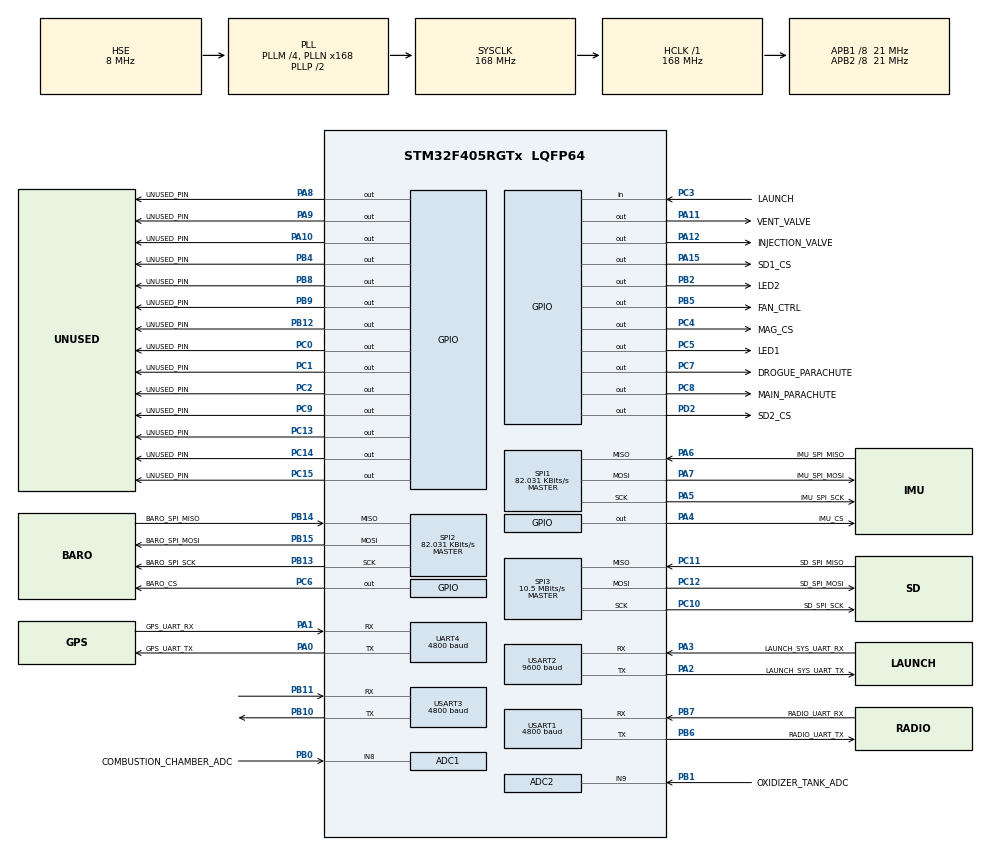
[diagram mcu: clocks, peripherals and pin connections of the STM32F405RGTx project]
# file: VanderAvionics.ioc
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ADC1.Channel-58\#ChannelRegularConversion=ADC_CHANNEL_8
ADC1.ClockPrescaler=ADC_CLOCK_SYNC_PCLK_DIV2
ADC1.ContinuousConvMode=ENABLE
ADC1.DMAContinuousRequests=DISABLE
ADC1.DataAlign=ADC_DATAALIGN_RIGHT
ADC1.DiscontinuousConvMode=DISABLE
ADC1.EOCSelection=ADC_EOC_SEQ_CONV
ADC1.EnableAnalogWatchDog=false
ADC1.ExternalTrigConv=ADC_EXTERNALTRIGCONV_T1_CC1
ADC1.ExternalTrigConvEdge=ADC_EXTERNALTRIGCONVEDGE_RISING
ADC1.InjNumberOfConversion=0
ADC1.NbrOfConversion=1
ADC1.NbrOfConversionFlag=1
ADC1.Rank-58\#ChannelRegularConversion=1
ADC1.Resolution=ADC_RESOLUTION_12B
ADC1.SamplingTime-58\#ChannelRegularConversion=ADC_SAMPLETIME_480CYCLES
ADC1.ScanConvMode=DISABLE
ADC1.master=1
ADC2.Channel-68\#ChannelRegularConversion=ADC_CHANNEL_9
ADC2.ClockPrescaler=ADC_CLOCK_SYNC_PCLK_DIV2
ADC2.ContinuousConvMode=ENABLE
ADC2.DMAContinuousRequests=DISABLE
ADC2.DataAlign=ADC_DATAALIGN_RIGHT
ADC2.DiscontinuousConvMode=DISABLE
ADC2.EOCSelection=ADC_EOC_SEQ_CONV
ADC2.EnableAnalogWatchDog=false
ADC2.ExternalTrigConv=ADC_EXTERNALTRIGCONV_T1_CC1
ADC2.ExternalTrigConvEdge=ADC_EXTERNALTRIGCONVEDGE_RISING
ADC2.InjNumberOfConversion=0
ADC2.NbrOfConversion=1
ADC2.NbrOfConversionFlag=1
ADC2.Rank-68\#ChannelRegularConversion=1
ADC2.Resolution=ADC_RESOLUTION_12B
ADC2.SamplingTime-68\#ChannelRegularConversion=ADC_SAMPLETIME_480CYCLES
ADC2.ScanConvMode=DISABLE
FREERTOS.INCLUDE_vTaskDelayUntil=1
FREERTOS.Tasks01=defaultTask,0,128,StartDefaultTask,Default,NULL
FREERTOS.configMAX_TASK_NAME_LEN=64
Mcu.Family=STM32F4
Mcu.Name=STM32F405RGTx
Mcu.Package=LQFP64
NVIC.PriorityGroup=NVIC_PRIORITYGROUP_4
NVIC.TIM1_UP_TIM10_IRQn=true\:0\:0\:false\:false\:true\:false\:false
NVIC.TimeBase=TIM1_UP_TIM10_IRQn
NVIC.TimeBaseIP=TIM1
PA0-WKUP.GPIO_Label=GPS_UART_TX
PA0-WKUP.Mode=Asynchronous
PA0-WKUP.Signal=UART4_TX
PA1.GPIO_Label=GPS_UART_RX
PA1.Mode=Asynchronous
PA1.Signal=UART4_RX
PA10.GPIO_Label=UNUSED_PIN
PA10.Signal=GPIO_Output
PA11.GPIO_Label=VENT_VALVE
PA11.Signal=GPIO_Output
PA12.GPIO_Label=INJECTION_VALVE
PA12.Signal=GPIO_Output
PA13.Signal=SYS_JTMS-SWDIO
PA14.Signal=SYS_JTCK-SWCLK
PA15.GPIO_Label=SD1_CS
PA15.Signal=GPIO_Output
PA2.GPIO_Label=LAUNCH_SYS_UART_TX
PA2.Mode=Asynchronous
PA2.Signal=USART2_TX
PA3.GPIO_Label=LAUNCH_SYS_UART_RX
PA3.Mode=Asynchronous
PA3.Signal=USART2_RX
PA4.GPIO_Label=IMU_CS
PA4.Signal=GPIO_Output
PA5.GPIO_Label=IMU_SPI_SCK
PA5.Mode=Full_Duplex_Master
PA5.Signal=SPI1_SCK
PA6.GPIO_Label=IMU_SPI_MISO
PA6.Mode=Full_Duplex_Master
PA6.Signal=SPI1_MISO
PA7.GPIO_Label=IMU_SPI_MOSI
PA7.Mode=Full_Duplex_Master
PA7.Signal=SPI1_MOSI
PA8.GPIO_Label=UNUSED_PIN
PA8.Signal=GPIO_Output
PA9.GPIO_Label=UNUSED_PIN
PA9.Signal=GPIO_Output
PB0.GPIO_Label=COMBUSTION_CHAMBER_ADC
PB0.Signal=ADCx_IN8
PB1.GPIO_Label=OXIDIZER_TANK_ADC
PB1.Signal=ADCx_IN9
PB10.Mode=Asynchronous
PB10.Signal=USART3_TX
PB11.Mode=Asynchronous
PB11.Signal=USART3_RX
PB12.GPIO_Label=UNUSED_PIN
PB12.Signal=GPIO_Output
PB13.GPIO_Label=BARO_SPI_SCK
PB13.Mode=Full_Duplex_Master
PB13.Signal=SPI2_SCK
PB14.GPIO_Label=BARO_SPI_MISO
PB14.Mode=Full_Duplex_Master
PB14.Signal=SPI2_MISO
PB15.GPIO_Label=BARO_SPI_MOSI
PB15.Mode=Full_Duplex_Master
PB15.Signal=SPI2_MOSI
PB2.GPIO_Label=LED2
PB2.Signal=GPIO_Output
PB3.Signal=SYS_JTDO-SWO
PB4.GPIO_Label=UNUSED_PIN
PB4.Signal=GPIO_Output
PB5.GPIO_Label=FAN_CTRL
PB5.Signal=GPIO_Output
PB6.GPIO_Label=RADIO_UART_TX
PB6.Mode=Asynchronous
PB6.Signal=USART1_TX
PB7.GPIO_Label=RADIO_UART_RX
PB7.Mode=Asynchronous
PB7.Signal=USART1_RX
PB8.GPIO_Label=UNUSED_PIN
PB8.Signal=GPIO_Output
PB9.GPIO_Label=UNUSED_PIN
PB9.Signal=GPIO_Output
PC0.GPIO_Label=UNUSED_PIN
PC0.Signal=GPIO_Output
PC1.GPIO_Label=UNUSED_PIN
PC1.Signal=GPIO_Output
PC10.GPIO_Label=SD_SPI_SCK
PC10.Mode=Full_Duplex_Master
PC10.Signal=SPI3_SCK
PC11.GPIO_Label=SD_SPI_MISO
PC11.Mode=Full_Duplex_Master
PC11.Signal=SPI3_MISO
PC12.GPIO_Label=SD_SPI_MOSI
PC12.Mode=Full_Duplex_Master
PC12.Signal=SPI3_MOSI
PC13-ANTI_TAMP.GPIO_Label=UNUSED_PIN
PC13-ANTI_TAMP.Signal=GPIO_Output
PC14-OSC32_IN.GPIO_Label=UNUSED_PIN
PC14-OSC32_IN.Signal=GPIO_Output
PC15-OSC32_OUT.GPIO_Label=UNUSED_PIN
PC15-OSC32_OUT.Signal=GPIO_Output
PC2.GPIO_Label=UNUSED_PIN
PC2.Signal=GPIO_Output
PC3.GPIO_Label=LAUNCH
PC3.Signal=GPIO_Input
PC4.GPIO_Label=MAG_CS
PC4.Signal=GPIO_Output
PC5.GPIO_Label=LED1
PC5.Signal=GPIO_Output
PC6.GPIO_Label=BARO_CS
PC6.Signal=GPIO_Output
PC7.GPIO_Label=DROGUE_PARACHUTE
PC7.Signal=GPIO_Output
PC8.GPIO_Label=MAIN_PARACHUTE
PC8.Signal=GPIO_Output
PC9.GPIO_Label=UNUSED_PIN
PC9.Signal=GPIO_Output
PD2.GPIO_Label=SD2_CS
PD2.Signal=GPIO_Output
PH0-OSC_IN.Mode=HSE-External-Oscillator
PH0-OSC_IN.Signal=RCC_OSC_IN
PH1-OSC_OUT.Mode=HSE-External-Oscillator
PH1-OSC_OUT.Signal=RCC_OSC_OUT
ProjectManager.HeapSize=0x200
ProjectManager.StackSize=0x400
ProjectManager.TargetToolchain=SW4STM32
RCC.48MHZClocksFreq_Value=84000000
RCC.AHBFreq_Value=168000000
RCC.APB1CLKDivider=RCC_HCLK_DIV8
RCC.APB1Freq_Value=21000000
RCC.APB1TimFreq_Value=42000000
RCC.APB2CLKDivider=RCC_HCLK_DIV8
RCC.APB2Freq_Value=21000000
RCC.APB2TimFreq_Value=42000000
RCC.CortexFreq_Value=168000000
RCC.HCLKFreq_Value=168000000
RCC.HSE_VALUE=8000000
RCC.HSI_VALUE=16000000
RCC.LSE_VALUE=32768
RCC.PLLM=4
RCC.PLLN=168
RCC.PLLSourceVirtual=RCC_PLLSOURCE_HSE
RCC.SYSCLKFreq_VALUE=168000000
RCC.SYSCLKSource=RCC_SYSCLKSOURCE_PLLCLK
RCC.VCOOutputFreq_Value=336000000
SH.ADCx_IN8.0=ADC1_IN8,IN8
SH.ADCx_IN9.0=ADC2_IN9,IN9
SPI1.BaudRatePrescaler=SPI_BAUDRATEPRESCALER_256
SPI1.CLKPhase=SPI_PHASE_2EDGE
SPI1.CLKPolarity=SPI_POLARITY_HIGH
SPI1.CalculateBaudRate=82.031 KBits/s
SPI1.Direction=SPI_DIRECTION_2LINES
SPI1.Mode=SPI_MODE_MASTER
SPI1.VirtualType=VM_MASTER
SPI2.BaudRatePrescaler=SPI_BAUDRATEPRESCALER_256
SPI2.CalculateBaudRate=82.031 KBits/s
SPI2.Direction=SPI_DIRECTION_2LINES
SPI2.Mode=SPI_MODE_MASTER
SPI2.VirtualType=VM_MASTER
SPI3.CalculateBaudRate=10.5 MBits/s
SPI3.Direction=SPI_DIRECTION_2LINES
SPI3.Mode=SPI_MODE_MASTER
SPI3.VirtualType=VM_MASTER
UART4.BaudRate=4800
UART4.VirtualMode=Asynchronous
USART1.BaudRate=4800
USART1.VirtualMode=VM_ASYNC
USART2.BaudRate=9600
USART2.VirtualMode=VM_ASYNC
USART3.BaudRate=4800
USART3.VirtualMode=VM_ASYNC
VP_FREERTOS_VS_ENABLE.Mode=Enabled
VP_SYS_VS_tim1.Mode=TIM1
board=VanderAvionics

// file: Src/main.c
/**
  ******************************************************************************
  * @file           : main.c
  * @brief          : Main program body
  ******************************************************************************
  * This notice applies to any and all portions of this file
  * that are not between comment pairs USER CODE BEGIN and
  * USER CODE END. Other portions of this file, whether
  * inserted by the user or by software development tools
  * are owned by their respective copyright owners.
  *
  * Copyright (c) 2018 STMicroelectronics International N.V.
  * All rights reserved.
  *
  * Redistribution and use in source and binary forms, with or without
  * modification, are permitted, provided that the following conditions are met:
  *
  * 1. Redistribution of source code must retain the above copyright notice,
  *    this list of conditions and the following disclaimer.
  * 2. Redistributions in binary form must reproduce the above copyright notice,
  *    this list of conditions and the following disclaimer in the documentation
  *    and/or other materials provided with the distribution.
  * 3. Neither the name of STMicroelectronics nor the names of other
  *    contributors to this software may be used to endorse or promote products
  *    derived from this software without specific written permission.
  * 4. This software, including modifications and/or derivative works of this
  *    software, must execute solely and exclusively on microcontroller or
  *    microprocessor devices manufactured by or for STMicroelectronics.
  * 5. Redistribution and use of this software other than as permitted under
  *    this license is void and will automatically terminate your rights under
  *    this license.
  *
  * THIS SOFTWARE IS PROVIDED BY STMICROELECTRONICS AND CONTRIBUTORS "AS IS"
  * AND ANY EXPRESS, IMPLIED OR STATUTORY WARRANTIES, INCLUDING, BUT NOT
  * LIMITED TO, THE IMPLIED WARRANTIES OF MERCHANTABILITY, FITNESS FOR A
  * PARTICULAR PURPOSE AND NON-INFRINGEMENT OF THIRD PARTY INTELLECTUAL PROPERTY
  * RIGHTS ARE DISCLAIMED TO THE FULLEST EXTENT PERMITTED BY LAW. IN NO EVENT
  * SHALL STMICROELECTRONICS OR CONTRIBUTORS BE LIABLE FOR ANY DIRECT, INDIRECT,
  * INCIDENTAL, SPECIAL, EXEMPLARY, OR CONSEQUENTIAL DAMAGES (INCLUDING, BUT NOT
  * LIMITED TO, PROCUREMENT OF SUBSTITUTE GOODS OR SERVICES; LOSS OF USE, DATA,
  * OR PROFITS; OR BUSINESS INTERRUPTION) HOWEVER CAUSED AND ON ANY THEORY OF
  * LIABILITY, WHETHER IN CONTRACT, STRICT LIABILITY, OR TORT (INCLUDING
  * NEGLIGENCE OR OTHERWISE) ARISING IN ANY WAY OUT OF THE USE OF THIS SOFTWARE,
  * EVEN IF ADVISED OF THE POSSIBILITY OF SUCH DAMAGE.
  *
  ******************************************************************************
  */
#include "main.h"
#include "stm32f4xx_hal.h"
#include "cmsis_os.h"

/* USER CODE BEGIN Includes */
#include <stdlib.h>
#include "ReadAccelGyroMagnetism.h"
#include "ReadBarometer.h"
#include "ReadCombustionChamberPressure.h"
#include "ReadGps.h"
#include "ReadOxidizerTankPressure.h"
#include "MonitorForEmergencyShutoff.h"
#include "EngineControl.h"
#include "ParachutesControl.h"
#include "LogData.h"
#include "TransmitData.h"
#include "AbortPhase.h"
#include "Data.h"
#include "FlightPhase.h"
/* USER CODE END Includes */

ADC_HandleTypeDef hadc1;
ADC_HandleTypeDef hadc2;

SPI_HandleTypeDef hspi1;
SPI_HandleTypeDef hspi2;
SPI_HandleTypeDef hspi3;

UART_HandleTypeDef huart4;
UART_HandleTypeDef huart1;
UART_HandleTypeDef huart2;
UART_HandleTypeDef huart3;

osThreadId defaultTaskHandle;

/* USER CODE BEGIN PV */
/* Private variables ---------------------------------------------------------*/
static osThreadId readAccelGyroMagnetismTaskHandle;
static osThreadId readBarometerTaskHandle;
static osThreadId readCombustionChamberPressureTaskHandle;
static osThreadId readGpsTaskHandle;
static osThreadId readOxidizerTankPressureTaskHandle;
// Controls that will perform actions
static osThreadId monitorForEmergencyShutoffTaskHandle;
static osThreadId engineControlTaskHandle;
static osThreadId parachutesControlTaskHandle;
// Storing data
static osThreadId logDataTaskHandle;
static osThreadId transmitDataTaskHandle;
// Special abort thread
static osThreadId abortPhaseTaskHandle;

static uint8_t launchSystemsRxChar = 0;
static const uint8_t LAUNCH_CMD_BYTE = 0x20;
static const uint8_t ABORT_CMD_BYTE = 0x2F;
uint8_t launchCmdReceived = 0;
uint8_t abortCmdReceived = 0;

static const int FLIGHT_PHASE_DISPLAY_FREQ = 1000;
static const int FLIGHT_PHASE_BLINK_FREQ = 100;
/* USER CODE END PV */

void SystemClock_Config(void);
static void MX_GPIO_Init(void);
static void MX_ADC1_Init(void);
static void MX_ADC2_Init(void);
static void MX_SPI1_Init(void);
static void MX_SPI3_Init(void);
static void MX_SPI2_Init(void);
static void MX_USART1_UART_Init(void);
static void MX_USART2_UART_Init(void);
static void MX_UART4_Init(void);
static void MX_USART3_UART_Init(void);
void StartDefaultTask(void const* argument);

/* USER CODE BEGIN PFP */
/* Private function prototypes -----------------------------------------------*/

/* USER CODE END PFP */

int main(void)
{

    /* MCU Configuration----------------------------------------------------------*/

    /* Reset of all peripherals, Initializes the Flash interface and the Systick. */
    HAL_Init();

    /* Configure the system clock */
    SystemClock_Config();

    /* Initialize all configured peripherals */
    MX_GPIO_Init();
    MX_ADC1_Init();
    MX_ADC2_Init();
    MX_SPI1_Init();
    MX_SPI3_Init();
    MX_SPI2_Init();
    MX_USART1_UART_Init();
    MX_USART2_UART_Init();
    MX_UART4_Init();
    MX_USART3_UART_Init();
    /* USER CODE BEGIN 2 */
    // data primitive structs
    AccelGyroMagnetismData* accelGyroMagnetismData =
        malloc(sizeof(AccelGyroMagnetismData));
    BarometerData* barometerData =
        malloc(sizeof(BarometerData));
    CombustionChamberPressureData* combustionChamberPressureData =
        malloc(sizeof(CombustionChamberPressureData));
    GpsData* gpsData =
        malloc(sizeof(GpsData));
    OxidizerTankPressureData* oxidizerTankPressureData =
        malloc(sizeof(OxidizerTankPressureData));

    osMutexDef(ACCEL_GYRO_MAGNETISM_DATA_MUTEX);
    accelGyroMagnetismData->mutex_ = osMutexCreate(osMutex(ACCEL_GYRO_MAGNETISM_DATA_MUTEX));
    accelGyroMagnetismData->accelX_ = -1;
    accelGyroMagnetismData->accelY_ = -2;
    accelGyroMagnetismData->accelZ_ = -3;
    accelGyroMagnetismData->gyroX_ = -4;
    accelGyroMagnetismData->gyroY_ = -5;
    accelGyroMagnetismData->gyroZ_ = -6;
    accelGyroMagnetismData->magnetoX_ = -7;
    accelGyroMagnetismData->magnetoY_ = -8;
    accelGyroMagnetismData->magnetoZ_ = -9;

    osMutexDef(BAROMETER_DATA_MUTEX);
    barometerData->mutex_ = osMutexCreate(osMutex(BAROMETER_DATA_MUTEX));
    barometerData->pressure_ = -10;
    barometerData->temperature_ = -11;

    osMutexDef(COMBUSTION_CHAMBER_PRESSURE_DATA_MUTEX);
    combustionChamberPressureData->mutex_ = osMutexCreate(osMutex(COMBUSTION_CHAMBER_PRESSURE_DATA_MUTEX));
    combustionChamberPressureData->pressure_ = -12;

    osMutexDef(GPS_DATA_MUTEX);
    gpsData->mutex_ = osMutexCreate(osMutex(GPS_DATA_MUTEX));
    gpsData->altitude_ = -13;
    gpsData->epochTimeMsec_ = -14;
    gpsData->latitude_ = -15;
    gpsData->longitude_ = -16;

    osMutexDef(OXIDIZER_TANK_PRESSURE_DATA_MUTEX);
    oxidizerTankPressureData->mutex_ = osMutexCreate(osMutex(OXIDIZER_TANK_PRESSURE_DATA_MUTEX));
    oxidizerTankPressureData->pressure_ = -17;

    // data containers
    AllData* allData =
        malloc(sizeof(AllData));
    allData->accelGyroMagnetismData_ = accelGyroMagnetismData;
    allData->barometerData_ = barometerData;
    allData->combustionChamberPressureData_ = combustionChamberPressureData;
    allData->gpsData_ = gpsData;
    allData->oxidizerTankPressureData_ = oxidizerTankPressureData;

    ParachutesControlData* parachutesControlData =
        malloc(sizeof(ParachutesControlData));
    parachutesControlData->accelGyroMagnetismData_ = accelGyroMagnetismData;
    parachutesControlData->barometerData_ = barometerData;
    /* USER CODE END 2 */

    /* USER CODE BEGIN RTOS_MUTEX */
    osMutexDef(FLIGHT_PHASE_MUTEX);
    flightPhaseMutex = osMutexCreate(osMutex(FLIGHT_PHASE_MUTEX));
    /* USER CODE END RTOS_MUTEX */

    /* USER CODE BEGIN RTOS_TIMERS */
    /* start timers, add new ones, ... */
    if (HAL_UART_Receive_IT(&huart2, launchSystemsRxChar, 1) != HAL_OK)
    {
        /* Reception Error */
        HAL_UART_ErrorCallback(&huart2);
    }

    // Turn on fan
    HAL_GPIO_WritePin(FAN_CTRL_GPIO_Port, FAN_CTRL_Pin, 1);

    /* USER CODE END RTOS_TIMERS */

    /* Create the thread(s) */
    /* definition and creation of defaultTask */
    osThreadDef(defaultTask, StartDefaultTask, osPriorityNormal, 0, 128);
    defaultTaskHandle = osThreadCreate(osThread(defaultTask), NULL);

    /* USER CODE BEGIN RTOS_THREADS */

    osThreadDef(
        readAccelGyroMagnetismThread,
        readAccelGyroMagnetismTask,
        osPriorityNormal,
        1,
        configMINIMAL_STACK_SIZE
    );
    readAccelGyroMagnetismTaskHandle =
        osThreadCreate(osThread(readAccelGyroMagnetismThread), accelGyroMagnetismData);

    osThreadDef(
        readBarometerThread,
        readBarometerTask,
        osPriorityNormal,
        1,
        configMINIMAL_STACK_SIZE
    );
    readBarometerTaskHandle =
        osThreadCreate(osThread(readBarometerThread), barometerData);

    osThreadDef(
        readCombustionChamberPressureThread,
        readCombustionChamberPressureTask,
        osPriorityAboveNormal,
        1,
        configMINIMAL_STACK_SIZE
    );
    readCombustionChamberPressureTaskHandle =
        osThreadCreate(osThread(readCombustionChamberPressureThread), combustionChamberPressureData);

    osThreadDef(
        readGpsThread,
        readGpsTask,
        osPriorityBelowNormal,
        1,
        configMINIMAL_STACK_SIZE
    );
    readGpsTaskHandle =
        osThreadCreate(osThread(readGpsThread), gpsData);

    osThreadDef(
        readOxidizerTankPressureThread,
        readOxidizerTankPressureTask,
        osPriorityAboveNormal,
        1,
        configMINIMAL_STACK_SIZE
    );
    readOxidizerTankPressureTaskHandle =
        osThreadCreate(osThread(readOxidizerTankPressureThread), oxidizerTankPressureData);

    osThreadDef(
        monitorForEmergencyShutoffThread,
        monitorForEmergencyShutoffTask,
        osPriorityHigh,
        1,
        configMINIMAL_STACK_SIZE
    );
    monitorForEmergencyShutoffTaskHandle =
        osThreadCreate(osThread(monitorForEmergencyShutoffThread), accelGyroMagnetismData);

    osThreadDef(
        engineControlThread,
        engineControlTask,
        osPriorityNormal,
        1,
        configMINIMAL_STACK_SIZE * 2
    );
    engineControlTaskHandle =
        osThreadCreate(osThread(engineControlThread), oxidizerTankPressureData);

    osThreadDef(
        parachutesControlThread,
        parachutesControlTask,
        osPriorityAboveNormal,
        1,
        configMINIMAL_STACK_SIZE * 2
    );
    parachutesControlTaskHandle =
        osThreadCreate(osThread(parachutesControlThread), parachutesControlData);

    osThreadDef(
        logDataThread,
        logDataTask,
        osPriorityNormal,
        1,
        configMINIMAL_STACK_SIZE * 3
    );
    logDataTaskHandle =
        osThreadCreate(osThread(logDataThread), allData);

    osThreadDef(
        transmitDataThread,
        transmitDataTask,
        osPriorityAboveNormal,
        1,
        configMINIMAL_STACK_SIZE * 3
    );
    transmitDataTaskHandle =
        osThreadCreate(osThread(transmitDataThread), allData);

    osThreadDef(
        abortPhaseThread,
        abortPhaseTask,
        osPriorityHigh,
        1,
        configMINIMAL_STACK_SIZE
    );
    abortPhaseTaskHandle =
        osThreadCreate(osThread(abortPhaseThread), NULL);
    /* USER CODE END RTOS_THREADS */

    /* Start scheduler */
    osKernelStart();

    /* We should never get here as control is now taken by the scheduler */

    /* Infinite loop */
    while (1)
    {

        /* USER CODE BEGIN 3 */
    }

    free(accelGyroMagnetismData);
    free(barometerData);
    free(combustionChamberPressureData);
    free(gpsData);
    free(oxidizerTankPressureData);
    free(allData);
    free(parachutesControlData);
    /* USER CODE END 3 */

}

void SystemClock_Config(void)
{

    RCC_OscInitTypeDef RCC_OscInitStruct;
    RCC_ClkInitTypeDef RCC_ClkInitStruct;

    /**Configure the main internal regulator output voltage
    */
    __HAL_RCC_PWR_CLK_ENABLE();

    __HAL_PWR_VOLTAGESCALING_CONFIG(PWR_REGULATOR_VOLTAGE_SCALE1);

    /**Initializes the CPU, AHB and APB busses clocks
    */
    RCC_OscInitStruct.OscillatorType = RCC_OSCILLATORTYPE_HSE;
    RCC_OscInitStruct.HSEState = RCC_HSE_ON;
    RCC_OscInitStruct.PLL.PLLState = RCC_PLL_ON;
    RCC_OscInitStruct.PLL.PLLSource = RCC_PLLSOURCE_HSE;
    RCC_OscInitStruct.PLL.PLLM = 4;
    RCC_OscInitStruct.PLL.PLLN = 168;
    RCC_OscInitStruct.PLL.PLLP = RCC_PLLP_DIV2;
    RCC_OscInitStruct.PLL.PLLQ = 4;

    if (HAL_RCC_OscConfig(&RCC_OscInitStruct) != HAL_OK)
    {
        _Error_Handler(__FILE__, __LINE__);
    }

    /**Initializes the CPU, AHB and APB busses clocks
    */
    RCC_ClkInitStruct.ClockType = RCC_CLOCKTYPE_HCLK | RCC_CLOCKTYPE_SYSCLK
                                  | RCC_CLOCKTYPE_PCLK1 | RCC_CLOCKTYPE_PCLK2;
    RCC_ClkInitStruct.SYSCLKSource = RCC_SYSCLKSOURCE_PLLCLK;
    RCC_ClkInitStruct.AHBCLKDivider = RCC_SYSCLK_DIV1;
    RCC_ClkInitStruct.APB1CLKDivider = RCC_HCLK_DIV8;
    RCC_ClkInitStruct.APB2CLKDivider = RCC_HCLK_DIV8;

    if (HAL_RCC_ClockConfig(&RCC_ClkInitStruct, FLASH_LATENCY_5) != HAL_OK)
    {
        _Error_Handler(__FILE__, __LINE__);
    }

    /**Configure the Systick interrupt time
    */
    HAL_SYSTICK_Config(HAL_RCC_GetHCLKFreq() / 1000);

    /**Configure the Systick
    */
    HAL_SYSTICK_CLKSourceConfig(SYSTICK_CLKSOURCE_HCLK);

    /* SysTick_IRQn interrupt configuration */
    HAL_NVIC_SetPriority(SysTick_IRQn, 15, 0);
}

/* ADC1 init function */
static void MX_ADC1_Init(void)
{

    ADC_ChannelConfTypeDef sConfig;

    /**Configure the global features of the ADC (Clock, Resolution, Data Alignment and number of conversion)
    */
    hadc1.Instance = ADC1;
    hadc1.Init.ClockPrescaler = ADC_CLOCK_SYNC_PCLK_DIV2;
    hadc1.Init.Resolution = ADC_RESOLUTION_12B;
    hadc1.Init.ScanConvMode = DISABLE;
    hadc1.Init.ContinuousConvMode = ENABLE;
    hadc1.Init.DiscontinuousConvMode = DISABLE;
    hadc1.Init.ExternalTrigConvEdge = ADC_EXTERNALTRIGCONVEDGE_NONE;
    hadc1.Init.ExternalTrigConv = ADC_EXTERNALTRIGCONV_T1_CC1;
    hadc1.Init.DataAlign = ADC_DATAALIGN_RIGHT;
    hadc1.Init.NbrOfConversion = 1;
    hadc1.Init.DMAContinuousRequests = DISABLE;
    hadc1.Init.EOCSelection = ADC_EOC_SEQ_CONV;

    if (HAL_ADC_Init(&hadc1) != HAL_OK)
    {
        _Error_Handler(__FILE__, __LINE__);
    }

    /**Configure for the selected ADC regular channel its corresponding rank in the sequencer and its sample time.
    */
    sConfig.Channel = ADC_CHANNEL_8;
    sConfig.Rank = 1;
    sConfig.SamplingTime = ADC_SAMPLETIME_480CYCLES;

    if (HAL_ADC_ConfigChannel(&hadc1, &sConfig) != HAL_OK)
    {
        _Error_Handler(__FILE__, __LINE__);
    }

}

/* ADC2 init function */
static void MX_ADC2_Init(void)
{

    ADC_ChannelConfTypeDef sConfig;

    /**Configure the global features of the ADC (Clock, Resolution, Data Alignment and number of conversion)
    */
    hadc2.Instance = ADC2;
    hadc2.Init.ClockPrescaler = ADC_CLOCK_SYNC_PCLK_DIV2;
    hadc2.Init.Resolution = ADC_RESOLUTION_12B;
    hadc2.Init.ScanConvMode = DISABLE;
    hadc2.Init.ContinuousConvMode = ENABLE;
    hadc2.Init.DiscontinuousConvMode = DISABLE;
    hadc2.Init.ExternalTrigConvEdge = ADC_EXTERNALTRIGCONVEDGE_NONE;
    hadc2.Init.ExternalTrigConv = ADC_EXTERNALTRIGCONV_T1_CC1;
    hadc2.Init.DataAlign = ADC_DATAALIGN_RIGHT;
    hadc2.Init.NbrOfConversion = 1;
    hadc2.Init.DMAContinuousRequests = DISABLE;
    hadc2.Init.EOCSelection = ADC_EOC_SEQ_CONV;

    if (HAL_ADC_Init(&hadc2) != HAL_OK)
    {
        _Error_Handler(__FILE__, __LINE__);
    }

    /**Configure for the selected ADC regular channel its corresponding rank in the sequencer and its sample time.
    */
    sConfig.Channel = ADC_CHANNEL_9;
    sConfig.Rank = 1;
    sConfig.SamplingTime = ADC_SAMPLETIME_480CYCLES;

    if (HAL_ADC_ConfigChannel(&hadc2, &sConfig) != HAL_OK)
    {
        _Error_Handler(__FILE__, __LINE__);
    }

}

/* SPI1 init function */
static void MX_SPI1_Init(void)
{

    /* SPI1 parameter configuration*/
    hspi1.Instance = SPI1;
    hspi1.Init.Mode = SPI_MODE_MASTER;
    hspi1.Init.Direction = SPI_DIRECTION_2LINES;
    hspi1.Init.DataSize = SPI_DATASIZE_8BIT;
    hspi1.Init.CLKPolarity = SPI_POLARITY_HIGH;
    hspi1.Init.CLKPhase = SPI_PHASE_2EDGE;
    hspi1.Init.NSS = SPI_NSS_SOFT;
    hspi1.Init.BaudRatePrescaler = SPI_BAUDRATEPRESCALER_256;
    hspi1.Init.FirstBit = SPI_FIRSTBIT_MSB;
    hspi1.Init.TIMode = SPI_TIMODE_DISABLE;
    hspi1.Init.CRCCalculation = SPI_CRCCALCULATION_DISABLE;
    hspi1.Init.CRCPolynomial = 10;

    if (HAL_SPI_Init(&hspi1) != HAL_OK)
    {
        _Error_Handler(__FILE__, __LINE__);
    }

}

/* SPI2 init function */
static void MX_SPI2_Init(void)
{

    /* SPI2 parameter configuration*/
    hspi2.Instance = SPI2;
    hspi2.Init.Mode = SPI_MODE_MASTER;
    hspi2.Init.Direction = SPI_DIRECTION_2LINES;
    hspi2.Init.DataSize = SPI_DATASIZE_8BIT;
    hspi2.Init.CLKPolarity = SPI_POLARITY_LOW;
    hspi2.Init.CLKPhase = SPI_PHASE_1EDGE;
    hspi2.Init.NSS = SPI_NSS_SOFT;
    hspi2.Init.BaudRatePrescaler = SPI_BAUDRATEPRESCALER_256;
    hspi2.Init.FirstBit = SPI_FIRSTBIT_MSB;
    hspi2.Init.TIMode = SPI_TIMODE_DISABLE;
    hspi2.Init.CRCCalculation = SPI_CRCCALCULATION_DISABLE;
    hspi2.Init.CRCPolynomial = 10;

    if (HAL_SPI_Init(&hspi2) != HAL_OK)
    {
        _Error_Handler(__FILE__, __LINE__);
    }

}

/* SPI3 init function */
static void MX_SPI3_Init(void)
{

    /* SPI3 parameter configuration*/
    hspi3.Instance = SPI3;
    hspi3.Init.Mode = SPI_MODE_MASTER;
    hspi3.Init.Direction = SPI_DIRECTION_2LINES;
    hspi3.Init.DataSize = SPI_DATASIZE_8BIT;
    hspi3.Init.CLKPolarity = SPI_POLARITY_LOW;
    hspi3.Init.CLKPhase = SPI_PHASE_1EDGE;
    hspi3.Init.NSS = SPI_NSS_SOFT;
    hspi3.Init.BaudRatePrescaler = SPI_BAUDRATEPRESCALER_2;
    hspi3.Init.FirstBit = SPI_FIRSTBIT_MSB;
    hspi3.Init.TIMode = SPI_TIMODE_DISABLE;
    hspi3.Init.CRCCalculation = SPI_CRCCALCULATION_DISABLE;
    hspi3.Init.CRCPolynomial = 10;

    if (HAL_SPI_Init(&hspi3) != HAL_OK)
    {
        _Error_Handler(__FILE__, __LINE__);
    }

}

/* UART4 init function */
static void MX_UART4_Init(void)
{

    huart4.Instance = UART4;
    huart4.Init.BaudRate = 9600;
    huart4.Init.WordLength = UART_WORDLENGTH_8B;
    huart4.Init.StopBits = UART_STOPBITS_1;
    huart4.Init.Parity = UART_PARITY_NONE;
    huart4.Init.Mode = UART_MODE_TX_RX;
    huart4.Init.HwFlowCtl = UART_HWCONTROL_NONE;
    huart4.Init.OverSampling = UART_OVERSAMPLING_16;

    if (HAL_UART_Init(&huart4) != HAL_OK)
    {
        _Error_Handler(__FILE__, __LINE__);
    }

}

/* USART1 init function */
static void MX_USART1_UART_Init(void)
{

    huart1.Instance = USART1;
    huart1.Init.BaudRate = 4800;
    huart1.Init.WordLength = UART_WORDLENGTH_8B;
    huart1.Init.StopBits = UART_STOPBITS_1;
    huart1.Init.Parity = UART_PARITY_NONE;
    huart1.Init.Mode = UART_MODE_TX_RX;
    huart1.Init.HwFlowCtl = UART_HWCONTROL_NONE;
    huart1.Init.OverSampling = UART_OVERSAMPLING_16;

    if (HAL_UART_Init(&huart1) != HAL_OK)
    {
        _Error_Handler(__FILE__, __LINE__);
    }

}

/* USART2 init function */
static void MX_USART2_UART_Init(void)
{

    huart2.Instance = USART2;
    huart2.Init.BaudRate = 9600;
    huart2.Init.WordLength = UART_WORDLENGTH_8B;
    huart2.Init.StopBits = UART_STOPBITS_1;
    huart2.Init.Parity = UART_PARITY_NONE;
    huart2.Init.Mode = UART_MODE_TX_RX;
    huart2.Init.HwFlowCtl = UART_HWCONTROL_NONE;
    huart2.Init.OverSampling = UART_OVERSAMPLING_16;

    if (HAL_UART_Init(&huart2) != HAL_OK)
    {
        _Error_Handler(__FILE__, __LINE__);
    }

}

/* USART3 init function */
static void MX_USART3_UART_Init(void)
{

    huart3.Instance = USART3;
    huart3.Init.BaudRate = 4800;
    huart3.Init.WordLength = UART_WORDLENGTH_8B;
    huart3.Init.StopBits = UART_STOPBITS_1;
    huart3.Init.Parity = UART_PARITY_NONE;
    huart3.Init.Mode = UART_MODE_TX_RX;
    huart3.Init.HwFlowCtl = UART_HWCONTROL_NONE;
    huart3.Init.OverSampling = UART_OVERSAMPLING_16;

    if (HAL_UART_Init(&huart3) != HAL_OK)
    {
        _Error_Handler(__FILE__, __LINE__);
    }

}

/** Configure pins as
        * Analog
        * Input
        * Output
        * EVENT_OUT
        * EXTI
*/
static void MX_GPIO_Init(void)
{

    GPIO_InitTypeDef GPIO_InitStruct;

    /* GPIO Ports Clock Enable */
    __HAL_RCC_GPIOC_CLK_ENABLE();
    __HAL_RCC_GPIOH_CLK_ENABLE();
    __HAL_RCC_GPIOA_CLK_ENABLE();
    __HAL_RCC_GPIOB_CLK_ENABLE();
    __HAL_RCC_GPIOD_CLK_ENABLE();

    /*Configure GPIO pin Output Level */
    HAL_GPIO_WritePin(GPIOC, UNUSED_PIN_Pin | UNUSED_PINC14_Pin | UNUSED_PINC15_Pin | UNUSED_PINC0_Pin
                      | UNUSED_PINC1_Pin | UNUSED_PINC2_Pin | MAG_CS_Pin | LED1_Pin
                      | BARO_CS_Pin | DROGUE_PARACHUTE_Pin | MAIN_PARACHUTE_Pin | UNUSED_PINC9_Pin, GPIO_PIN_RESET);

    /*Configure GPIO pin Output Level */
    HAL_GPIO_WritePin(GPIOA, IMU_CS_Pin | UNUSED_PINA8_Pin | UNUSED_PINA9_Pin | UNUSED_PINA10_Pin
                      | VENT_VALVE_Pin | INJECTION_VALVE_Pin | SD1_CS_Pin, GPIO_PIN_RESET);

    /*Configure GPIO pin Output Level */
    HAL_GPIO_WritePin(GPIOB, LED2_Pin | UNUSED_PINB12_Pin | UNUSED_PINB4_Pin | FAN_CTRL_Pin
                      | UNUSED_PINB8_Pin | UNUSED_PINB9_Pin, GPIO_PIN_RESET);

    /*Configure GPIO pin Output Level */
    HAL_GPIO_WritePin(SD2_CS_GPIO_Port, SD2_CS_Pin, GPIO_PIN_RESET);

    /*Configure GPIO pins : UNUSED_PIN_Pin UNUSED_PINC14_Pin UNUSED_PINC15_Pin UNUSED_PINC0_Pin
                             UNUSED_PINC1_Pin UNUSED_PINC2_Pin MAG_CS_Pin LED1_Pin
                             BARO_CS_Pin DROGUE_PARACHUTE_Pin MAIN_PARACHUTE_Pin UNUSED_PINC9_Pin */
    GPIO_InitStruct.Pin = UNUSED_PIN_Pin | UNUSED_PINC14_Pin | UNUSED_PINC15_Pin | UNUSED_PINC0_Pin
                          | UNUSED_PINC1_Pin | UNUSED_PINC2_Pin | MAG_CS_Pin | LED1_Pin
                          | BARO_CS_Pin | DROGUE_PARACHUTE_Pin | MAIN_PARACHUTE_Pin | UNUSED_PINC9_Pin;
    GPIO_InitStruct.Mode = GPIO_MODE_OUTPUT_PP;
    GPIO_InitStruct.Pull = GPIO_NOPULL;
    GPIO_InitStruct.Speed = GPIO_SPEED_FREQ_LOW;
    HAL_GPIO_Init(GPIOC, &GPIO_InitStruct);

    /*Configure GPIO pin : LAUNCH_Pin */
    GPIO_InitStruct.Pin = LAUNCH_Pin;
    GPIO_InitStruct.Mode = GPIO_MODE_INPUT;
    GPIO_InitStruct.Pull = GPIO_NOPULL;
    HAL_GPIO_Init(LAUNCH_GPIO_Port, &GPIO_InitStruct);

    /*Configure GPIO pins : IMU_CS_Pin UNUSED_PINA8_Pin UNUSED_PINA9_Pin UNUSED_PINA10_Pin
                             VENT_VALVE_Pin INJECTION_VALVE_Pin SD1_CS_Pin */
    GPIO_InitStruct.Pin = IMU_CS_Pin | UNUSED_PINA8_Pin | UNUSED_PINA9_Pin | UNUSED_PINA10_Pin
                          | VENT_VALVE_Pin | INJECTION_VALVE_Pin | SD1_CS_Pin;
    GPIO_InitStruct.Mode = GPIO_MODE_OUTPUT_PP;
    GPIO_InitStruct.Pull = GPIO_NOPULL;
    GPIO_InitStruct.Speed = GPIO_SPEED_FREQ_LOW;
    HAL_GPIO_Init(GPIOA, &GPIO_InitStruct);

    /*Configure GPIO pins : LED2_Pin UNUSED_PINB12_Pin UNUSED_PINB4_Pin FAN_CTRL_Pin
                             UNUSED_PINB8_Pin UNUSED_PINB9_Pin */
    GPIO_InitStruct.Pin = LED2_Pin | UNUSED_PINB12_Pin | UNUSED_PINB4_Pin | FAN_CTRL_Pin
                          | UNUSED_PINB8_Pin | UNUSED_PINB9_Pin;
    GPIO_InitStruct.Mode = GPIO_MODE_OUTPUT_PP;
    GPIO_InitStruct.Pull = GPIO_NOPULL;
    GPIO_InitStruct.Speed = GPIO_SPEED_FREQ_LOW;
    HAL_GPIO_Init(GPIOB, &GPIO_InitStruct);

    /*Configure GPIO pin : SD2_CS_Pin */
    GPIO_InitStruct.Pin = SD2_CS_Pin;
    GPIO_InitStruct.Mode = GPIO_MODE_OUTPUT_PP;
    GPIO_InitStruct.Pull = GPIO_NOPULL;
    GPIO_InitStruct.Speed = GPIO_SPEED_FREQ_LOW;
    HAL_GPIO_Init(SD2_CS_GPIO_Port, &GPIO_InitStruct);

}

/* USER CODE BEGIN 4 */
void HAL_UART_ErrorCallback(UART_HandleTypeDef* huart)
{

}

void HAL_UART_RxCpltCallback(UART_HandleTypeDef* huart)
{
    if (huart->Instance == USART2)
    {
        if (launchSystemsRxChar == LAUNCH_CMD_BYTE)
        {
            launchCmdReceived = 1;
        }
        else if (launchSystemsRxChar == ABORT_CMD_BYTE)
        {
            abortCmdReceived = 1;
        }

        if (HAL_UART_Receive_IT(&huart2, launchSystemsRxChar, 1) != HAL_OK)
        {
            HAL_UART_Receive_IT(&huart2, launchSystemsRxChar, 1); // try one more time
        }
    }

}
/* USER CODE END 4 */

/* StartDefaultTask function */
void StartDefaultTask(void const* argument)
{

    /* USER CODE BEGIN 5 */
    /* Infinite loop */
    HAL_GPIO_WritePin(LED2_GPIO_Port, LED2_Pin, 0);

    for (;;)
    {
        osDelay(FLIGHT_PHASE_DISPLAY_FREQ);

        // blink once for PRELAUNCH phase
        // blink twice for BURN phase
        // blink 3 times for COAST phase
        // blink 4 times for DROGUE_DESCENT phase
        // blink 5 times for MAIN_DESCENT phase
        for (int i = -1; i < getCurrentFlightPhase(); i++)
        {
            HAL_GPIO_WritePin(LED2_GPIO_Port, LED2_Pin, 1);
            osDelay(FLIGHT_PHASE_BLINK_FREQ);
            HAL_GPIO_WritePin(LED2_GPIO_Port, LED2_Pin, 0);
            osDelay(FLIGHT_PHASE_BLINK_FREQ);
        }
    }

    /* USER CODE END 5 */
}

void HAL_TIM_PeriodElapsedCallback(TIM_HandleTypeDef* htim)
{
    if (htim->Instance == TIM1)
    {
        HAL_IncTick();
    }

}

void _Error_Handler(char* file, int line)
{
    while (1)
    {
    }
}

/************************ (C) COPYRIGHT STMicroelectronics *****END OF FILE****/
